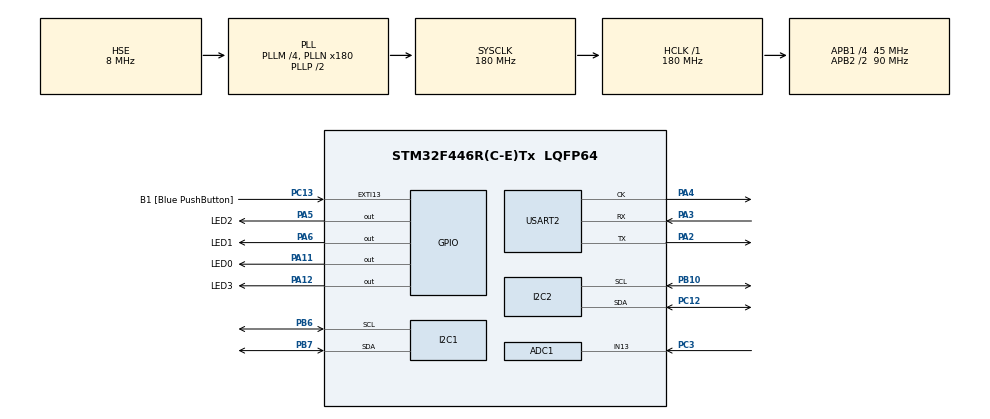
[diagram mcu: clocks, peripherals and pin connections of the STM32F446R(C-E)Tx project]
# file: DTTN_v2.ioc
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ADC1.Channel-0\#ChannelRegularConversion=ADC_CHANNEL_13
ADC1.InjNumberOfConversion=0
ADC1.NbrOfConversion=1
ADC1.NbrOfConversionFlag=1
ADC1.Rank-0\#ChannelRegularConversion=1
ADC1.SamplingTime-0\#ChannelRegularConversion=ADC_SAMPLETIME_480CYCLES
ADC1.master=1
FREERTOS.Tasks01=defaultTask,0,128,StartDefaultTask,Default,NULL,Dynamic,NULL,NULL
FREERTOS.configENABLE_FPU=1
FREERTOS.configGENERATE_RUN_TIME_STATS=1
FREERTOS.configRECORD_STACK_HIGH_ADDRESS=1
FREERTOS.configTOTAL_HEAP_SIZE=32768
FREERTOS.configUSE_NEWLIB_REENTRANT=1
FREERTOS.configUSE_POSIX_ERRNO=1
FREERTOS.configUSE_STATS_FORMATTING_FUNCTIONS=1
FREERTOS.configUSE_TIMERS=1
FREERTOS.configUSE_TRACE_FACILITY=1
I2C2.OwnAddress=0x77
Mcu.Family=STM32F4
Mcu.Name=STM32F446R(C-E)Tx
Mcu.Package=LQFP64
NVIC.EXTI15_10_IRQn=true\:5\:0\:false\:false\:true\:true\:true\:true\:true
NVIC.I2C1_EV_IRQn=true\:5\:0\:false\:false\:true\:true\:true\:true\:true
NVIC.I2C2_EV_IRQn=true\:5\:0\:false\:false\:true\:true\:true\:true\:true
NVIC.PriorityGroup=NVIC_PRIORITYGROUP_4
NVIC.TIM8_TRG_COM_TIM14_IRQn=true\:15\:0\:false\:false\:true\:false\:false\:true\:true
NVIC.TimeBase=TIM8_TRG_COM_TIM14_IRQn
NVIC.TimeBaseIP=TIM14
PA11.GPIO_Label=LED0
PA11.Signal=GPIO_Output
PA12.GPIO_Label=LED3
PA12.Signal=GPIO_Output
PA13.GPIO_Label=TMS
PA13.Mode=Trace_Asynchronous_SW
PA13.Signal=SYS_JTMS-SWDIO
PA14.GPIO_Label=TCK
PA14.Mode=Trace_Asynchronous_SW
PA14.Signal=SYS_JTCK-SWCLK
PA2.GPIO_ModeDefaultPP=GPIO_MODE_AF_PP
PA2.GPIO_PuPd=GPIO_NOPULL
PA2.GPIO_Speed=GPIO_SPEED_FREQ_VERY_HIGH
PA2.Mode=Synchronous
PA2.Signal=USART2_TX
PA3.GPIO_ModeDefaultPP=GPIO_MODE_AF_PP
PA3.GPIO_PuPd=GPIO_NOPULL
PA3.GPIO_Speed=GPIO_SPEED_FREQ_VERY_HIGH
PA3.Mode=Synchronous
PA3.Signal=USART2_RX
PA4.Mode=Synchronous
PA4.Signal=USART2_CK
PA5.GPIO_Label=LED2
PA5.Signal=GPIO_Output
PA6.GPIO_Label=LED1
PA6.Signal=GPIO_Output
PB10.Mode=I2C
PB10.Signal=I2C2_SCL
PB3.GPIO_Label=SWO
PB3.Mode=Trace_Asynchronous_SW
PB3.Signal=SYS_JTDO-SWO
PB6.Mode=I2C
PB6.Signal=I2C1_SCL
PB7.Mode=I2C
PB7.Signal=I2C1_SDA
PC12.Mode=I2C
PC12.Signal=I2C2_SDA
PC13.GPIO_Label=B1 [Blue PushButton]
PC13.GPIO_ModeDefaultEXTI=GPIO_MODE_IT_FALLING
PC13.Signal=GPXTI13
PC14-OSC32_IN.Mode=LSE-External-Oscillator
PC14-OSC32_IN.Signal=RCC_OSC32_IN
PC15-OSC32_OUT.Mode=LSE-External-Oscillator
PC15-OSC32_OUT.Signal=RCC_OSC32_OUT
PC3.Signal=ADCx_IN13
PH0-OSC_IN.Mode=HSE-External-Oscillator
PH0-OSC_IN.Signal=RCC_OSC_IN
PH1-OSC_OUT.Mode=HSE-External-Oscillator
PH1-OSC_OUT.Signal=RCC_OSC_OUT
ProjectManager.HeapSize=0x200
ProjectManager.StackSize=0x400
ProjectManager.TargetToolchain=STM32CubeIDE
RCC.48MHZClocksFreq_Value=84000000
RCC.AHBFreq_Value=180000000
RCC.APB1CLKDivider=RCC_HCLK_DIV4
RCC.APB1Freq_Value=45000000
RCC.APB1TimFreq_Value=90000000
RCC.APB2CLKDivider=RCC_HCLK_DIV2
RCC.APB2Freq_Value=90000000
RCC.APB2TimFreq_Value=180000000
RCC.CortexFreq_Value=180000000
RCC.FLatency-AdvancedSettings=FLASH_LATENCY_5
RCC.HCLKFreq_Value=180000000
RCC.HSE_VALUE=8000000
RCC.HSI_VALUE=16000000
RCC.PLLM=4
RCC.PLLN=180
RCC.PLLSourceVirtual=RCC_PLLSOURCE_HSE
RCC.SYSCLKFreq_VALUE=180000000
RCC.SYSCLKSource=RCC_SYSCLKSOURCE_PLLCLK
RCC.USBFreq_Value=180000000
RCC.VCOOutputFreq_Value=360000000
SH.ADCx_IN13.0=ADC1_IN13,IN13
USART2.VirtualMode=VM_SYNC
VP_FREERTOS_VS_CMSIS_V1.Mode=CMSIS_V1
VP_SYS_VS_tim14.Mode=TIM14
board=NUCLEO-F446RE

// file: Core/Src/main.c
/* USER CODE BEGIN Header */
/**
  ******************************************************************************
  * @file           : main.c
  * @brief          : Main program body
  ******************************************************************************
  * @attention
  *
  * Copyright (c) 2024 STMicroelectronics.
  * All rights reserved.
  *
  * This software is licensed under terms that can be found in the LICENSE file
  * in the root directory of this software component.
  * If no LICENSE file comes with this software, it is provided AS-IS.
  *
  ******************************************************************************
  */
/* USER CODE END Header */
#include "main.h"
#include "cmsis_os.h"
#include "adc.h"
#include "i2c.h"
#include "usart.h"
#include "gpio.h"

void SystemClock_Config(void);
void MX_FREERTOS_Init(void);

/* USER CODE BEGIN 0 */
int __io_putchar(int ch){
	ITM_SendChar((uint32_t)ch);
	return ch;
}
/* USER CODE END 0 */

int main(void)
{

  /* MCU Configuration--------------------------------------------------------*/

  /* Reset of all peripherals, Initializes the Flash interface and the Systick. */
  HAL_Init();

  /* Configure the system clock */
  SystemClock_Config();

  /* Initialize all configured peripherals */
  MX_GPIO_Init();
  MX_USART2_Init();
  MX_I2C1_Init();
  MX_I2C2_Init();
  MX_ADC1_Init();

  /* Call init function for freertos objects (in freertos.c) */
  MX_FREERTOS_Init();

  /* Start scheduler */
  osKernelStart();
  /* We should never get here as control is now taken by the scheduler */
  /* Infinite loop */
  while (1)
  {

  }
}

void SystemClock_Config(void)
{
  RCC_OscInitTypeDef RCC_OscInitStruct = {0};
  RCC_ClkInitTypeDef RCC_ClkInitStruct = {0};

  /** Configure the main internal regulator output voltage
  */
  __HAL_RCC_PWR_CLK_ENABLE();
  __HAL_PWR_VOLTAGESCALING_CONFIG(PWR_REGULATOR_VOLTAGE_SCALE1);

  /** Initializes the RCC Oscillators according to the specified parameters
  * in the RCC_OscInitTypeDef structure.
  */
  RCC_OscInitStruct.OscillatorType = RCC_OSCILLATORTYPE_HSE;
  RCC_OscInitStruct.HSEState = RCC_HSE_ON;
  RCC_OscInitStruct.PLL.PLLState = RCC_PLL_ON;
  RCC_OscInitStruct.PLL.PLLSource = RCC_PLLSOURCE_HSE;
  RCC_OscInitStruct.PLL.PLLM = 4;
  RCC_OscInitStruct.PLL.PLLN = 180;
  RCC_OscInitStruct.PLL.PLLP = RCC_PLLP_DIV2;
  RCC_OscInitStruct.PLL.PLLQ = 2;
  RCC_OscInitStruct.PLL.PLLR = 2;
  if (HAL_RCC_OscConfig(&RCC_OscInitStruct) != HAL_OK)
  {
    Error_Handler();
  }

  /** Activate the Over-Drive mode
  */
  if (HAL_PWREx_EnableOverDrive() != HAL_OK)
  {
    Error_Handler();
  }

  /** Initializes the CPU, AHB and APB buses clocks
  */
  RCC_ClkInitStruct.ClockType = RCC_CLOCKTYPE_HCLK|RCC_CLOCKTYPE_SYSCLK
                              |RCC_CLOCKTYPE_PCLK1|RCC_CLOCKTYPE_PCLK2;
  RCC_ClkInitStruct.SYSCLKSource = RCC_SYSCLKSOURCE_PLLCLK;
  RCC_ClkInitStruct.AHBCLKDivider = RCC_SYSCLK_DIV1;
  RCC_ClkInitStruct.APB1CLKDivider = RCC_HCLK_DIV4;
  RCC_ClkInitStruct.APB2CLKDivider = RCC_HCLK_DIV2;

  if (HAL_RCC_ClockConfig(&RCC_ClkInitStruct, FLASH_LATENCY_5) != HAL_OK)
  {
    Error_Handler();
  }
}

void HAL_TIM_PeriodElapsedCallback(TIM_HandleTypeDef *htim)
{
  if (htim->Instance == TIM14) {
    HAL_IncTick();
  }
}

void Error_Handler(void)
{
  __disable_irq();
  while (1)
  {
  }
}

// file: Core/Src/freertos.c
/* USER CODE BEGIN Header */
/**
  ******************************************************************************
  * File Name          : freertos.c
  * Description        : Code for freertos applications
  ******************************************************************************
  * @attention
  *
  * Copyright (c) 2024 STMicroelectronics.
  * All rights reserved.
  *
  * This software is licensed under terms that can be found in the LICENSE file
  * in the root directory of this software component.
  * If no LICENSE file comes with this software, it is provided AS-IS.
  *
  ******************************************************************************
  */
/* USER CODE END Header */

#include "FreeRTOS.h"
#include "task.h"
#include "main.h"
#include "cmsis_os.h"

/* USER CODE BEGIN Includes */
#include <limits.h>
#include "usart.h"
/* USER CODE END Includes */

/* USER CODE BEGIN Variables */
TaskHandle_t ADCreader_h;
TaskHandle_t communicationTask_h;
extern ADC_HandleTypeDef hadc1;
extern USART_HandleTypeDef husart2;
/* USER CODE END Variables */
osThreadId defaultTaskHandle;

/* USER CODE BEGIN FunctionPrototypes */
void ADCread(void *params);
void communicationTask(void *params);
/* USER CODE END FunctionPrototypes */

void StartDefaultTask(void const * argument);

void MX_FREERTOS_Init(void); /* (MISRA C 2004 rule 8.1) */

/* GetIdleTaskMemory prototype (linked to static allocation support) */
void vApplicationGetIdleTaskMemory( StaticTask_t **ppxIdleTaskTCBBuffer, StackType_t **ppxIdleTaskStackBuffer, uint32_t *pulIdleTaskStackSize );

/* GetTimerTaskMemory prototype (linked to static allocation support) */
void vApplicationGetTimerTaskMemory( StaticTask_t **ppxTimerTaskTCBBuffer, StackType_t **ppxTimerTaskStackBuffer, uint32_t *pulTimerTaskStackSize );

/* Hook prototypes */
void configureTimerForRunTimeStats(void);
unsigned long getRunTimeCounterValue(void);

/* USER CODE BEGIN 1 */
/* Functions needed when configGENERATE_RUN_TIME_STATS is on */
__weak void configureTimerForRunTimeStats(void)
{

}

__weak unsigned long getRunTimeCounterValue(void)
{
return 0;
}
/* USER CODE END 1 */

/* USER CODE BEGIN GET_IDLE_TASK_MEMORY */
static StaticTask_t xIdleTaskTCBBuffer;
static StackType_t xIdleStack[configMINIMAL_STACK_SIZE];

void vApplicationGetIdleTaskMemory( StaticTask_t **ppxIdleTaskTCBBuffer, StackType_t **ppxIdleTaskStackBuffer, uint32_t *pulIdleTaskStackSize )
{
  *ppxIdleTaskTCBBuffer = &xIdleTaskTCBBuffer;
  *ppxIdleTaskStackBuffer = &xIdleStack[0];
  *pulIdleTaskStackSize = configMINIMAL_STACK_SIZE;
  /* place for user code */
}
/* USER CODE END GET_IDLE_TASK_MEMORY */

/* USER CODE BEGIN GET_TIMER_TASK_MEMORY */
static StaticTask_t xTimerTaskTCBBuffer;
static StackType_t xTimerStack[configTIMER_TASK_STACK_DEPTH];

void vApplicationGetTimerTaskMemory( StaticTask_t **ppxTimerTaskTCBBuffer, StackType_t **ppxTimerTaskStackBuffer, uint32_t *pulTimerTaskStackSize )
{
  *ppxTimerTaskTCBBuffer = &xTimerTaskTCBBuffer;
  *ppxTimerTaskStackBuffer = &xTimerStack[0];
  *pulTimerTaskStackSize = configTIMER_TASK_STACK_DEPTH;
  /* place for user code */
}
/* USER CODE END GET_TIMER_TASK_MEMORY */

void MX_FREERTOS_Init(void) {

  /* Create the thread(s) */
  /* definition and creation of defaultTask */
  osThreadDef(defaultTask, StartDefaultTask, osPriorityNormal, 0, 128);
  defaultTaskHandle = osThreadCreate(osThread(defaultTask), NULL);

  /* USER CODE BEGIN RTOS_THREADS */
  xTaskCreate(ADCread, "ADC", configMINIMAL_STACK_SIZE, NULL, 1, &ADCreader_h);
  xTaskCreate(communicationTask, "communication", configMINIMAL_STACK_SIZE, NULL, 1, &communicationTask_h);

  /* USER CODE END RTOS_THREADS */

}

void StartDefaultTask(void const * argument)
{
  /* USER CODE BEGIN StartDefaultTask */
  /* Infinite loop */
  for(;;)
  {
	  LED3_GPIO_Port->ODR ^= (LED3_Pin);
	  osDelay(1);
  }
  /* USER CODE END StartDefaultTask */
}

/* USER CODE BEGIN Application */
void ADCread(void *params){
	uint32_t notified = 0;
	uint32_t adc_acc = 0;
	for(;;){

		xTaskNotifyWait(
		                        0x00,               /* Don't clear any bits on entry. */
		                        ULONG_MAX,          /* Clear all bits on exit. */
		                        &notified, /* Receives the notification value. */
		                        portMAX_DELAY );
		if(notified)
			{
				LED1_GPIO_Port->ODR ^= (LED1_Pin);

				HAL_ADC_Start(&hadc1);

							// Oczekiwanie na zakończenie konwersji
				HAL_ADC_PollForConversion(&hadc1, HAL_MAX_DELAY);

				for(int i = 0; i < 10; ++i){
					adc_acc += HAL_ADC_GetValue(&hadc1);
				}
				adc_acc /= 10;
				xTaskNotify(communicationTask_h, adc_acc, eSetValueWithOverwrite);
				notified = 0;
				adc_acc = 0;

				LED1_GPIO_Port->ODR ^= (LED1_Pin);
			}

		osDelay(100);
	}
}

void communicationTask(void *params){
	uint32_t avg = 0;
	uint8_t bytes[4];
	for(;;){
		xTaskNotifyWait(
				                        0x00,
				                        ULONG_MAX,
				                        &avg,
				                        portMAX_DELAY );
		if( avg != 0){
			LED2_GPIO_Port->ODR ^= (LED2_Pin);
			bytes[0] = (avg >> 24) & 0xFF;
			bytes[1] = (avg >> 16) & 0xFF;
			bytes[2] = (avg >> 8) & 0xFF;
			bytes[3] = avg & 0xFF;

			HAL_USART_Transmit(&husart2, bytes, 4, HAL_MAX_DELAY);
			avg = 0;
			LED2_GPIO_Port->ODR ^= (LED2_Pin);
		}
		osDelay(1);}
}
/* USER CODE END Application */
